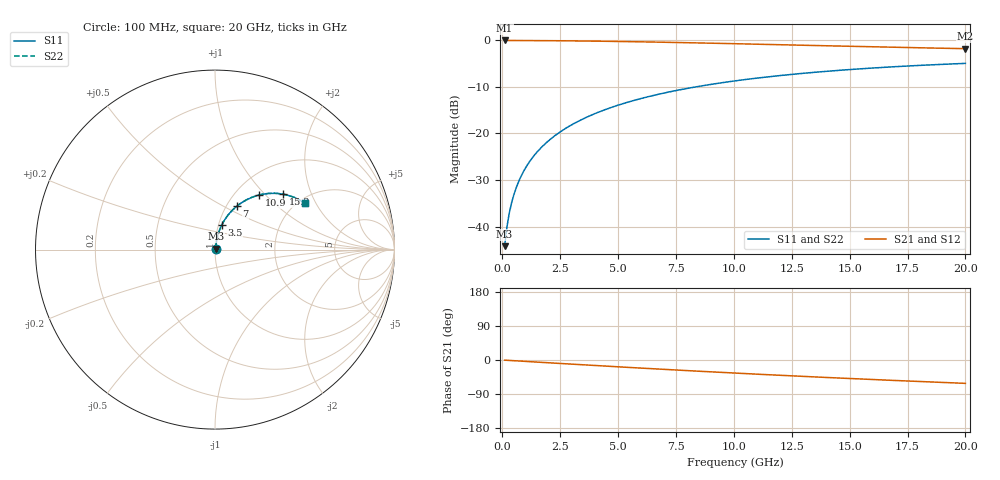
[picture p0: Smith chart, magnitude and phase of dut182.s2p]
! Touchstone file exported from HFSS 2026.1.0
!  File:  C:/ffzhzh/LocalFiles/Ansys_Project_Files/temp_train_TMRDL_182_1782983646_41620.aedt
!  Generated:  05:15:34 PM Jul  2, 2026
!  Design:  TMRDL
!  Project:  temp_train_TMRDL_182_1782983646_41620
! Variables:
!  h_bsmrdl = 2um
!  h_ox = 20um
!  h_rdl = 5um
!  h_sub = 80um
!  h_tmrdl = 3.84um
!  h_tsv = 80um
!  h_via = 3um
!  l_bsmrdl = 300um
!  l_sub = 1337um
!  l_tmrdl = 937um
!  m_sub = 200um
!  pitch = 59.16um
!  r_tsv = 6um
!  s_tmrdl = 10um
!  w_bsmrdl = 18um
!  w_sub = 500um
!  w_tmrdl = 21.06um
!  x_tsv_center1 = 947.53um
!  x_tsv_center2 = 1265.53um
!  x_tsv_center3 = 2223.59um
!  x_tsv_center4 = 2541.59um
!  x_tsv_center5 = 3499.65um
!  x_tsv_center6 = 3817.65um
# GHz S MA R 50.000000
! Terminal data exported
! Port[1] = TM_RDL1_1_T1
! Port[2] = TM_RDL1_1_T2
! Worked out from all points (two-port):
!   200 points, 100 MHz to 20 GHz, reference 50 ohm
!   highest |S21| = -0.04 dB at 100 MHz (marker M1); lowest = -1.8 dB at 20 GHz (marker M2)
!   |S21| within 3 dB of the highest: start of sweep to end of sweep
!   lowest |S11| = -44.2 dB at 100 MHz (marker M3), VSWR 1.01, Z = 50.4 + j0.448 ohm
!   |S11| at or under -10 dB: start of sweep to 8.361 GHz
!   |S22| runs from -44.2 to -5.0 dB; largest |S21 - S12| = 7.2e-15
!   S11 on the Smith chart (normalised r, x): 100 MHz: 1.01, +0.01; 3.5 GHz: 1.04, +0.29; 7 GHz: 1.12, +0.59; 10.9 GHz: 1.28, +0.92; 15.2 GHz: 1.58, +1.28; 20 GHz: 2.17, +1.64
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0.1  0.006161 46.1  0.9958 -0.4  0.9958 -0.4  0.006161 46.1
! Gamma 0 0 0 0
! Port Impedance 50 0 50 0
0.2  0.009882 62.6  0.9955 -0.8  0.9955 -0.8  0.009882 62.7
0.3  0.01388 69.4  0.9953 -1.1  0.9953 -1.1  0.01388 69.4
0.4  0.01793 73.0  0.9951 -1.5  0.9951 -1.5  0.01793 73.0
0.5  0.02199 75.3  0.9949 -1.9  0.9949 -1.9  0.02199 75.3
0.7  0.03015 77.7  0.9945 -2.6  0.9945 -2.6  0.03015 77.7
1  0.04247 79.2  0.9939 -3.7  0.9939 -3.7  0.04247 79.2
1.4  0.05894 79.5  0.9928 -5.2  0.9928 -5.2  0.05894 79.5
2  0.08355 78.7  0.9907 -7.3  0.9907 -7.3  0.08355 78.7
2.7  0.1119 76.9  0.9875 -9.9  0.9875 -9.9  0.1119 76.9
3.5  0.1437 74.5  0.9828 -12.7  0.9828 -12.7  0.1437 74.5
4.2  0.1709 72.3  0.9779 -15.2  0.9779 -15.2  0.1709 72.3
5  0.201 69.7  0.9715 -18.0  0.9715 -18.0  0.201 69.7
6.8  0.2652 63.8  0.9547 -24.1  0.9547 -24.1  0.2651 63.9
7  0.2719 63.2  0.9527 -24.8  0.9527 -24.8  0.2719 63.2
8.5  0.3206 58.4  0.9366 -29.7  0.9366 -29.7  0.3206 58.5
10.1  0.368 53.5  0.9185 -34.7  0.9185 -34.7  0.368 53.6
10.9  0.39 51.1  0.9092 -37.1  0.9092 -37.1  0.3899 51.2
13.4  0.4513 44.0  0.8801 -44.4  0.8801 -44.4  0.4513 44.1
15.2  0.4889 39.1  0.8599 -49.4  0.8599 -49.4  0.4888 39.2
16.7  0.5162 35.2  0.844 -53.4  0.844 -53.4  0.5162 35.4
20  0.5649 27.1  0.8128 -61.7  0.8128 -61.7  0.5648 27.3
